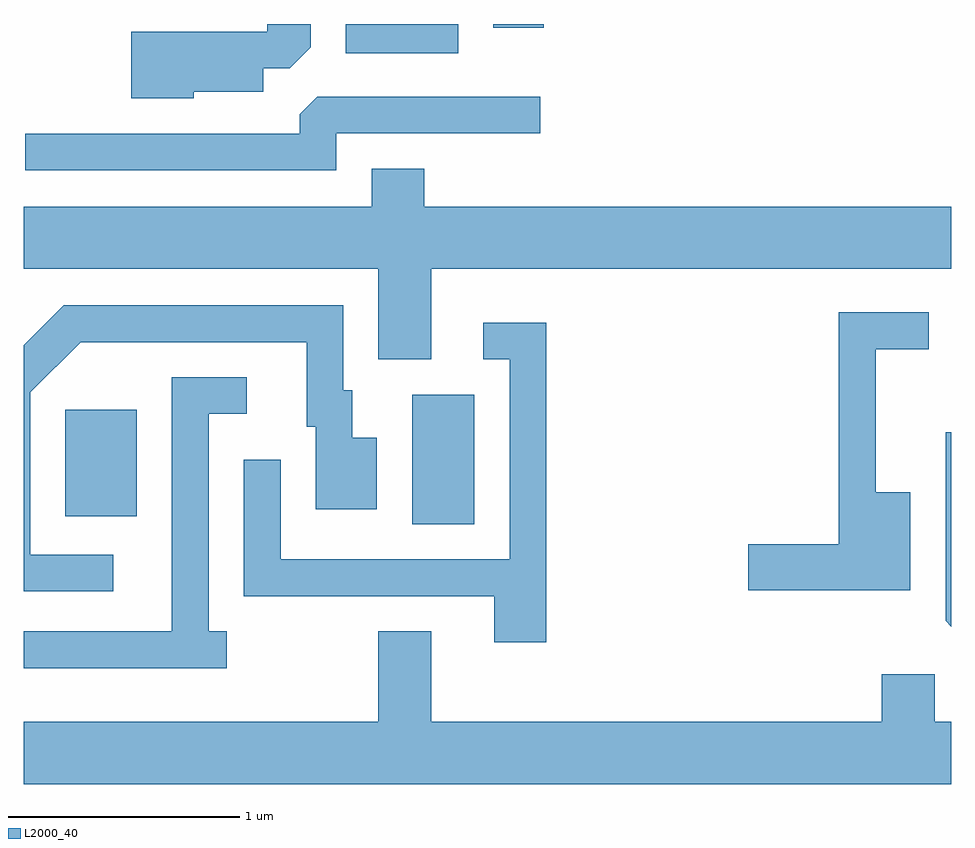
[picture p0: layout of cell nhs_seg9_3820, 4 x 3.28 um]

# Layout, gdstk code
import gdstk
lib = gdstk.Library(unit=1e-6, precision=1e-09)
def R(c, l, rs):  # rectangles x0, y0, x1, y1
    for r in rs: c.add(gdstk.rectangle(r[:2], r[2:], *l))
def P(c, l, *ps):  # polygons
    for p in ps: c.add(gdstk.Polygon(p, *l))
L2000_40 = (2000, 40)

nhs_seg9_3820 = lib.new_cell('nhs_seg9_3820')
R(nhs_seg9_3820, L2000_40, [(299.286,1986.276,299.554,1986.834), (297.791,1986.311,298.099,1986.769), (299.001,1988.306,299.484,1988.432), (299.636,1988.416,299.854,1988.432)])
P(nhs_seg9_3820, L2000_40, [(298.344,1988.141),(298.644,1988.141),(298.644,1988.241),(298.759,1988.241),(298.849,1988.332),(298.849,1988.432),(298.661,1988.432),(298.661,1988.399),(298.076,1988.399),(298.076,1988.111),(298.344,1988.111)],
  [(298.959,1987.961),(299.838,1987.961),(299.838,1988.119),(298.877,1988.119),(298.801,1988.044),(298.801,1987.959),(297.618,1987.959),(297.618,1987.801),(298.959,1987.801)],
  [(299.369,1987.376),(301.611,1987.376),(301.611,1987.644),(299.339,1987.644),(299.339,1987.809),(299.111,1987.809),(299.111,1987.644),(297.611,1987.644),(297.611,1987.376),(299.141,1987.376),(299.141,1986.986),(299.369,1986.986)],
  [(297.998,1986.144),(297.639,1986.144),(297.639,1986.844),(297.857,1987.061),(298.831,1987.061),(298.831,1986.696),(298.871,1986.696),(298.871,1986.341),(299.134,1986.341),(299.134,1986.649),(299.029,1986.649),(299.029,1986.854),(298.989,1986.854),(298.989,1987.219),(297.784,1987.219),(297.611,1987.047),(297.611,1985.986),(297.998,1985.986)],
  [(301.434,1986.414),(301.284,1986.414),(301.284,1987.031),(301.513,1987.031),(301.513,1987.189),(301.126,1987.189),(301.126,1986.189),(300.736,1986.189),(300.736,1985.991),(301.434,1985.991)],
  [(299.864,1987.144),(299.593,1987.144),(299.593,1986.986),(299.706,1986.986),(299.706,1986.124),(298.719,1986.124),(298.719,1986.553),(298.561,1986.553),(298.561,1985.966),(299.641,1985.966),(299.641,1985.766),(299.864,1985.766)],
  [(298.488,1985.814),(298.409,1985.814),(298.409,1986.751),(298.573,1986.751),(298.573,1986.909),(298.251,1986.909),(298.251,1985.814),(297.611,1985.814),(297.611,1985.656),(298.488,1985.656)],
  [(301.611,1986.673),(301.586,1986.673),(301.586,1985.859),(301.611,1985.834)],
  [(301.611,1985.424),(301.539,1985.424),(301.539,1985.629),(301.311,1985.629),(301.311,1985.424),(299.369,1985.424),(299.369,1985.814),(299.141,1985.814),(299.141,1985.424),(297.611,1985.424),(297.611,1985.156),(301.611,1985.156)])

lib.write_gds('nhs_seg9_3820.gds')
